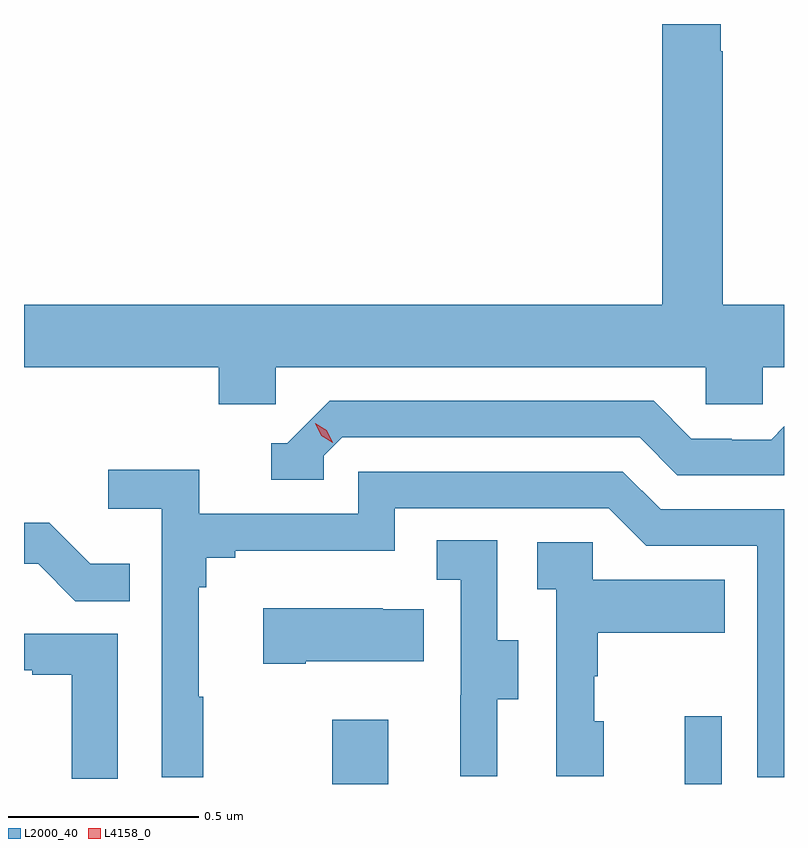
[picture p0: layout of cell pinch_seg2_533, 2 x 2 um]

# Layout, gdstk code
import gdstk
lib = gdstk.Library(unit=1e-6, precision=1e-09)
def R(c, l, rs):  # rectangles x0, y0, x1, y1
    for r in rs: c.add(gdstk.rectangle(r[:2], r[2:], *l))
def P(c, l, *ps):  # polygons
    for p in ps: c.add(gdstk.Polygon(p, *l))
L2000_40 = (2000, 40)
L4158_0 = (4158, 0)

pinch_seg2_533 = lib.new_cell('pinch_seg2_533')
R(pinch_seg2_533, L2000_40, [(987.226,598.587,987.373,598.756), (988.154,598.587,988.251,598.765)])
P(pinch_seg2_533, L2000_40, [(987.078,599.684),(988.209,599.684),(988.209,599.586),(988.359,599.586),(988.359,599.684),(988.415,599.684),(988.415,599.848),(988.254,599.848),(988.254,600.515),(988.249,600.515),(988.249,600.587),(988.094,600.587),(988.094,599.848),(986.415,599.848),(986.415,599.684),(986.927,599.684),(986.927,599.586),(987.078,599.586)],
  [(987.204,599.451),(987.252,599.499),(988.035,599.499),(988.134,599.4),(988.415,599.4),(988.415,599.528),(988.381,599.493),(988.278,599.493),(988.278,599.496),(988.171,599.496),(988.072,599.595),(987.219,599.595),(987.108,599.484),(987.065,599.484),(987.065,599.388),(987.204,599.388)],
  [(986.887,598.817),(986.875,598.817),(986.875,599.105),(986.894,599.105),(986.894,599.182),(986.971,599.182),(986.971,599.201),(987.39,599.201),(987.39,599.313),(987.954,599.313),(988.053,599.214),(988.344,599.214),(988.344,598.605),(988.415,598.605),(988.415,599.31),(988.09,599.31),(987.991,599.409),(987.294,599.409),(987.294,599.298),(986.876,599.298),(986.876,599.414),(986.637,599.414),(986.637,599.312),(986.778,599.312),(986.778,598.605),(986.887,598.605)],
  [(986.693,599.167),(986.589,599.167),(986.482,599.274),(986.415,599.274),(986.415,599.166),(986.452,599.166),(986.55,599.068),(986.693,599.068)],
  [(987.661,598.81),(987.715,598.81),(987.715,598.965),(987.66,598.965),(987.66,599.228),(987.501,599.228),(987.501,599.125),(987.564,599.125),(987.564,598.821),(987.563,598.821),(987.563,598.608),(987.661,598.608)],
  [(987.94,598.752),(987.915,598.752),(987.915,598.871),(987.925,598.871),(987.925,598.985),(988.259,598.985),(988.259,599.125),(987.912,599.125),(987.912,599.223),(987.765,599.223),(987.765,599.099),(987.816,599.099),(987.816,598.608),(987.94,598.608)],
  [(987.157,598.91),(987.467,598.91),(987.467,599.047),(987.359,599.047),(987.359,599.05),(987.045,599.05),(987.045,598.903),(987.157,598.903)],
  [(986.662,598.983),(986.415,598.983),(986.415,598.887),(986.437,598.887),(986.437,598.875),(986.54,598.875),(986.54,598.601),(986.662,598.601)])
P(pinch_seg2_533, L4158_0, [(987.228,599.485),(987.197,599.504),(987.181,599.537),(987.181,599.537),(987.181,599.537),(987.212,599.518),(987.228,599.485),(987.228,599.485)])

lib.write_gds('pinch_seg2_533.gds')
